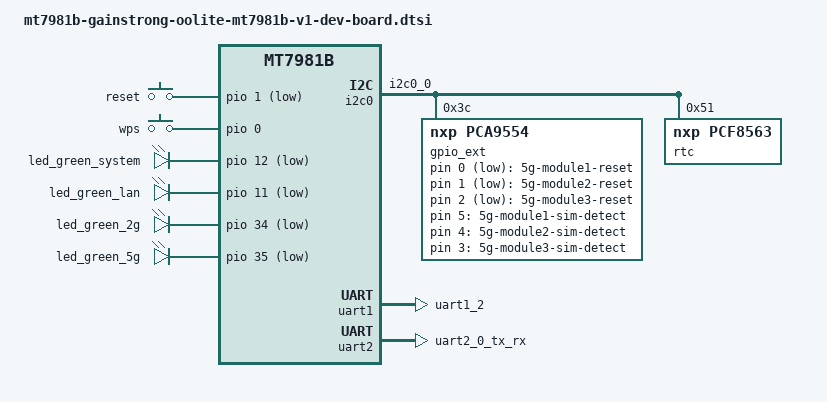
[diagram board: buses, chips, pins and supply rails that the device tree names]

/ {
	gpio-keys {
		compatible = "gpio-keys";

		reset {
			label = "reset";
			linux,code = <KEY_RESTART>;
			gpios = <&pio 1 GPIO_ACTIVE_LOW>;
		};

		wps {
			label = "wps";
			linux,code = <KEY_WPS_BUTTON>;
			gpios = <&pio 0 GPIO_ACTIVE_HIGH>;
		};
	};

	/delete-node/ leds;
	/delete-node/ aliases;

	aliases {
		serial0 = &uart0;
		led-boot = &led_green_system;
		led-failsafe = &led_green_system;
		led-running = &led_green_system;
		led-upgrade = &led_green_system;
	};

	leds {
		compatible = "gpio-leds";

		led_green_system: led_green_system {
			label = "led_green_system";
			gpios = <&pio 12 GPIO_ACTIVE_LOW>;
			default-state = "on";
		};

		led_green_lan {
			label = "led_green_lan";
			gpios = <&pio 11 GPIO_ACTIVE_LOW>;
		};

		led_green_2g {
			label = "led_green_2g";
			gpios = <&pio 34 GPIO_ACTIVE_LOW>;
			linux,default-trigger = "phy0tpt";
		};

		led_green_5g {
			label = "led_green_5g";
			gpios = <&pio 35 GPIO_ACTIVE_LOW>;
			linux,default-trigger = "phy1tpt";
		};
	};

	gpio-export {
		compatible = "gpio-export";

		5g-module1-reset {
			gpio-export,name = "5g-module1-reset";
			gpio-export,output = <1>;
			gpios = <&gpio_ext 0 GPIO_ACTIVE_LOW>;
		};

		5g-module2-reset {
			gpio-export,name = "5g-module2-reset";
			gpio-export,output = <1>;
			gpios = <&gpio_ext 1 GPIO_ACTIVE_LOW>;
		};

		5g-module3-reset {
			gpio-export,name = "5g-module3-reset";
			gpio-export,output = <1>;
			gpios = <&gpio_ext 2 GPIO_ACTIVE_LOW>;
		};

		5g-module1-sim-detect {
			gpio-export,name = "5g-module1-sim-detect";
			gpios = <&gpio_ext 5 GPIO_ACTIVE_HIGH>;
		};

		5g-module2-sim-detect {
			gpio-export,name = "5g-module2-sim-detect";
			gpios = <&gpio_ext 4 GPIO_ACTIVE_HIGH>;
		};

		5g-module3-sim-detect {
			gpio-export,name = "5g-module3-sim-detect";
			gpios = <&gpio_ext 3 GPIO_ACTIVE_HIGH>;
		};
	};
};




&pio {
	i2c0_pins: i2c0-pins {
		mux {
			function = "i2c";
			groups = "i2c0_0";
		};
	};

	uart1_pins: uart1-pins {
		mux {
			function = "uart";
			groups = "uart1_2";
		};
	};

	uart2_pins: uart2-pins {
		mux {
			function = "uart";
			groups = "uart2_0_tx_rx";
		};
	};

	wf2g-led-pins {
		mux {
			function = "led";
			groups = "wf2g_led1";
		};
	};

	wf5g-led-pins {
		mux {
			function = "led";
			groups = "wf5g_led1";
		};
	};
};

&i2c0 {
	pinctrl-names = "default";
	pinctrl-0 = <&i2c0_pins>;
	status = "okay";

	gpio_ext: gpio_expander@3c {
		compatible = "nxp,pca9554";
		gpio-controller;
		#gpio-cells = <2>;
		reg = <0x3c>;
		status = "okay";
	};

	rtc@51 {
		compatible = "nxp,pcf8563";
		reg = <0x51>;
		#clock-cells = <0>;
	};
};

&uart1 {
	pinctrl-names = "default";
	pinctrl-0 = <&uart1_pins>;
	status = "okay";
};

&uart2 {
	pinctrl-names = "default";
	pinctrl-0 = <&uart2_pins>;
	status = "okay";
};
